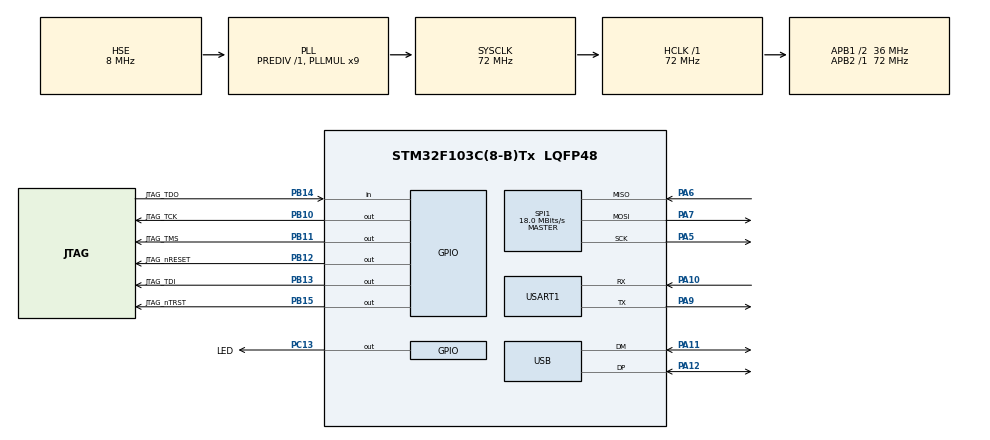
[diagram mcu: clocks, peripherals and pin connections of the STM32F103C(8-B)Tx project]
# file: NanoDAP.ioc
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Mcu.Family=STM32F1
Mcu.Name=STM32F103C(8-B)Tx
Mcu.Package=LQFP48
NVIC.PriorityGroup=NVIC_PRIORITYGROUP_4
NVIC.USB_LP_CAN1_RX0_IRQn=true\:0\:0\:false\:false\:true\:false\:true
PA10.Mode=Asynchronous
PA10.Signal=USART1_RX
PA11.Mode=Device
PA11.Signal=USB_DM
PA12.Mode=Device
PA12.Signal=USB_DP
PA5.Mode=Full_Duplex_Master
PA5.Signal=SPI1_SCK
PA6.Mode=Full_Duplex_Master
PA6.Signal=SPI1_MISO
PA7.Mode=Full_Duplex_Master
PA7.Signal=SPI1_MOSI
PA9.Mode=Asynchronous
PA9.Signal=USART1_TX
PB10.GPIO_Label=JTAG_TCK
PB10.Signal=GPIO_Output
PB11.GPIO_Label=JTAG_TMS
PB11.Signal=GPIO_Output
PB12.GPIO_Label=JTAG_nRESET
PB12.GPIO_ModeDefaultOutputPP=GPIO_MODE_OUTPUT_OD
PB12.GPIO_PuPd=GPIO_PULLUP
PB12.Signal=GPIO_Output
PB13.GPIO_Label=JTAG_TDI
PB13.Signal=GPIO_Output
PB14.GPIO_Label=JTAG_TDO
PB14.Signal=GPIO_Input
PB15.GPIO_Label=JTAG_nTRST
PB15.GPIO_ModeDefaultOutputPP=GPIO_MODE_OUTPUT_OD
PB15.GPIO_PuPd=GPIO_PULLUP
PB15.Signal=GPIO_Output
PC13-TAMPER-RTC.GPIO_Label=LED
PC13-TAMPER-RTC.Signal=GPIO_Output
PD0-OSC_IN.Mode=HSE-External-Oscillator
PD0-OSC_IN.Signal=RCC_OSC_IN
PD1-OSC_OUT.Mode=HSE-External-Oscillator
PD1-OSC_OUT.Signal=RCC_OSC_OUT
ProjectManager.HeapSize=0x200
ProjectManager.StackSize=0x400
ProjectManager.TargetToolchain=MDK-ARM V5.27
RCC.AHBFreq_Value=72000000
RCC.APB1CLKDivider=RCC_HCLK_DIV2
RCC.APB1Freq_Value=36000000
RCC.APB1TimFreq_Value=72000000
RCC.APB2Freq_Value=72000000
RCC.APB2TimFreq_Value=72000000
RCC.HCLKFreq_Value=72000000
RCC.PLLMUL=RCC_PLL_MUL9
RCC.SYSCLKFreq_VALUE=72000000
RCC.SYSCLKSource=RCC_SYSCLKSOURCE_PLLCLK
RCC.USBFreq_Value=48000000
RCC.USBPrescaler=RCC_USBCLKSOURCE_PLL_DIV1_5
SPI1.BaudRatePrescaler=SPI_BAUDRATEPRESCALER_4
SPI1.CalculateBaudRate=18.0 MBits/s
SPI1.Direction=SPI_DIRECTION_2LINES
SPI1.Mode=SPI_MODE_MASTER
SPI1.VirtualType=VM_MASTER
USART1.VirtualMode=VM_ASYNC
USB_DEVICE.CLASS_NAME_FS=CUSTOM_HID
USB_DEVICE.USBD_CUSTOMHID_OUTREPORT_BUF_SIZE=64
USB_DEVICE.VirtualMode=CustomHid
USB_DEVICE.VirtualModeFS=Custom_Hid_FS
VP_SYS_VS_ND.Mode=No_Debug
VP_USB_DEVICE_VS_USB_DEVICE_CUSTOM_HID_FS.Mode=CUSTOM_HID_FS
board=custom

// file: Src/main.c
/* USER CODE BEGIN Header */
/**
  ******************************************************************************
  * @file           : main.c
  * @brief          : Main program body
  ******************************************************************************
  * @attention
  *
  * <h2><center>&copy; Copyright (c) 2020 STMicroelectronics.
  * All rights reserved.</center></h2>
  *
  * This software component is licensed by ST under Ultimate Liberty license
  * SLA0044, the "License"; You may not use this file except in compliance with
  * the License. You may obtain a copy of the License at:
  *                             www.st.com/SLA0044
  *
  ******************************************************************************
  */
/* USER CODE END Header */

#include "main.h"
#include "usb_device.h"

/* USER CODE BEGIN Includes */
#include "device.h"
#include "cmsis_os2.h"
#include "osObjects.h"
#include "rl_usb.h"
#include "DAP_config.h"
#include "DAP.h"
/* USER CODE END Includes */

/* USER CODE BEGIN PTD */
__NO_RETURN void app_main (void *argument) {
  (void)argument;

  DAP_Setup();                          // DAP Setup

  USBD_Initialize(0U);                  // USB Device Initialization
  USBD_Connect(0U);                     // USB Device Connect

  while (!USBD_Configured(0U));         // Wait for USB Device to configure

  LED_CONNECTED_OUT(1U);                // Turn on  Debugger Connected LED
  LED_RUNNING_OUT(1U);                  // Turn on  Target Running LED
  HAL_Delay(500);                        // Wait for 500ms
  LED_RUNNING_OUT(0U);                  // Turn off Target Running LED
  LED_CONNECTED_OUT(0U);                // Turn off Debugger Connected LED

  // Create DAP Thread
  DAP_ThreadId = osThreadNew(DAP_Thread, NULL, NULL);

  osDelay(osWaitForever);
  for (;;) {};
}

/* USER CODE END PTD */

SPI_HandleTypeDef hspi1;

UART_HandleTypeDef huart1;

void SystemClock_Config(void);
static void MX_GPIO_Init(void);
static void MX_SPI1_Init(void);
static void MX_USART1_UART_Init(void);

int main(void)
{

  /* MCU Configuration--------------------------------------------------------*/

  /* Reset of all peripherals, Initializes the Flash interface and the Systick. */
  HAL_Init();

  /* Configure the system clock */
  SystemClock_Config();

  /* Initialize all configured peripherals */
  MX_GPIO_Init();
  MX_SPI1_Init();
  MX_USART1_UART_Init();
  MX_USB_DEVICE_Init();
  /* USER CODE BEGIN 2 */
	DEVICE_Init();
  /* USER CODE END 2 */

  /* Infinite loop */
  while (1)
  {

  }
}

void SystemClock_Config(void)
{
  RCC_OscInitTypeDef RCC_OscInitStruct = {0};
  RCC_ClkInitTypeDef RCC_ClkInitStruct = {0};
  RCC_PeriphCLKInitTypeDef PeriphClkInit = {0};

  /** Initializes the CPU, AHB and APB busses clocks
  */
  RCC_OscInitStruct.OscillatorType = RCC_OSCILLATORTYPE_HSE;
  RCC_OscInitStruct.HSEState = RCC_HSE_ON;
  RCC_OscInitStruct.HSEPredivValue = RCC_HSE_PREDIV_DIV1;
  RCC_OscInitStruct.HSIState = RCC_HSI_ON;
  RCC_OscInitStruct.PLL.PLLState = RCC_PLL_ON;
  RCC_OscInitStruct.PLL.PLLSource = RCC_PLLSOURCE_HSE;
  RCC_OscInitStruct.PLL.PLLMUL = RCC_PLL_MUL9;
  if (HAL_RCC_OscConfig(&RCC_OscInitStruct) != HAL_OK)
  {
    Error_Handler();
  }
  /** Initializes the CPU, AHB and APB busses clocks
  */
  RCC_ClkInitStruct.ClockType = RCC_CLOCKTYPE_HCLK|RCC_CLOCKTYPE_SYSCLK
                              |RCC_CLOCKTYPE_PCLK1|RCC_CLOCKTYPE_PCLK2;
  RCC_ClkInitStruct.SYSCLKSource = RCC_SYSCLKSOURCE_PLLCLK;
  RCC_ClkInitStruct.AHBCLKDivider = RCC_SYSCLK_DIV1;
  RCC_ClkInitStruct.APB1CLKDivider = RCC_HCLK_DIV2;
  RCC_ClkInitStruct.APB2CLKDivider = RCC_HCLK_DIV1;

  if (HAL_RCC_ClockConfig(&RCC_ClkInitStruct, FLASH_LATENCY_2) != HAL_OK)
  {
    Error_Handler();
  }
  PeriphClkInit.PeriphClockSelection = RCC_PERIPHCLK_USB;
  PeriphClkInit.UsbClockSelection = RCC_USBCLKSOURCE_PLL_DIV1_5;
  if (HAL_RCCEx_PeriphCLKConfig(&PeriphClkInit) != HAL_OK)
  {
    Error_Handler();
  }
}

static void MX_SPI1_Init(void)
{

  /* SPI1 parameter configuration*/
  hspi1.Instance = SPI1;
  hspi1.Init.Mode = SPI_MODE_MASTER;
  hspi1.Init.Direction = SPI_DIRECTION_2LINES;
  hspi1.Init.DataSize = SPI_DATASIZE_8BIT;
  hspi1.Init.CLKPolarity = SPI_POLARITY_LOW;
  hspi1.Init.CLKPhase = SPI_PHASE_1EDGE;
  hspi1.Init.NSS = SPI_NSS_SOFT;
  hspi1.Init.BaudRatePrescaler = SPI_BAUDRATEPRESCALER_4;
  hspi1.Init.FirstBit = SPI_FIRSTBIT_MSB;
  hspi1.Init.TIMode = SPI_TIMODE_DISABLE;
  hspi1.Init.CRCCalculation = SPI_CRCCALCULATION_DISABLE;
  hspi1.Init.CRCPolynomial = 10;
  if (HAL_SPI_Init(&hspi1) != HAL_OK)
  {
    Error_Handler();
  }

}

static void MX_USART1_UART_Init(void)
{

  huart1.Instance = USART1;
  huart1.Init.BaudRate = 115200;
  huart1.Init.WordLength = UART_WORDLENGTH_8B;
  huart1.Init.StopBits = UART_STOPBITS_1;
  huart1.Init.Parity = UART_PARITY_NONE;
  huart1.Init.Mode = UART_MODE_TX_RX;
  huart1.Init.HwFlowCtl = UART_HWCONTROL_NONE;
  huart1.Init.OverSampling = UART_OVERSAMPLING_16;
  if (HAL_UART_Init(&huart1) != HAL_OK)
  {
    Error_Handler();
  }

}

static void MX_GPIO_Init(void)
{
  GPIO_InitTypeDef GPIO_InitStruct = {0};

  /* GPIO Ports Clock Enable */
  __HAL_RCC_GPIOC_CLK_ENABLE();
  __HAL_RCC_GPIOD_CLK_ENABLE();
  __HAL_RCC_GPIOA_CLK_ENABLE();
  __HAL_RCC_GPIOB_CLK_ENABLE();

  /*Configure GPIO pin Output Level */
  HAL_GPIO_WritePin(LED_GPIO_Port, LED_Pin, GPIO_PIN_RESET);

  /*Configure GPIO pin Output Level */
  HAL_GPIO_WritePin(GPIOB, JTAG_TCK_Pin|JTAG_TMS_Pin|JTAG_nRESET_Pin|JTAG_TDI_Pin
                          |JTAG_nTRST_Pin, GPIO_PIN_RESET);

  /*Configure GPIO pin : LED_Pin */
  GPIO_InitStruct.Pin = LED_Pin;
  GPIO_InitStruct.Mode = GPIO_MODE_OUTPUT_PP;
  GPIO_InitStruct.Pull = GPIO_NOPULL;
  GPIO_InitStruct.Speed = GPIO_SPEED_FREQ_LOW;
  HAL_GPIO_Init(LED_GPIO_Port, &GPIO_InitStruct);

  /*Configure GPIO pins : JTAG_TCK_Pin JTAG_TMS_Pin JTAG_TDI_Pin */
  GPIO_InitStruct.Pin = JTAG_TCK_Pin|JTAG_TMS_Pin|JTAG_TDI_Pin;
  GPIO_InitStruct.Mode = GPIO_MODE_OUTPUT_PP;
  GPIO_InitStruct.Pull = GPIO_NOPULL;
  GPIO_InitStruct.Speed = GPIO_SPEED_FREQ_LOW;
  HAL_GPIO_Init(GPIOB, &GPIO_InitStruct);

  /*Configure GPIO pins : JTAG_nRESET_Pin JTAG_nTRST_Pin */
  GPIO_InitStruct.Pin = JTAG_nRESET_Pin|JTAG_nTRST_Pin;
  GPIO_InitStruct.Mode = GPIO_MODE_OUTPUT_OD;
  GPIO_InitStruct.Pull = GPIO_PULLUP;
  GPIO_InitStruct.Speed = GPIO_SPEED_FREQ_LOW;
  HAL_GPIO_Init(GPIOB, &GPIO_InitStruct);

  /*Configure GPIO pin : JTAG_TDO_Pin */
  GPIO_InitStruct.Pin = JTAG_TDO_Pin;
  GPIO_InitStruct.Mode = GPIO_MODE_INPUT;
  GPIO_InitStruct.Pull = GPIO_NOPULL;
  HAL_GPIO_Init(JTAG_TDO_GPIO_Port, &GPIO_InitStruct);

}

void Error_Handler(void)
{
}

/************************ (C) COPYRIGHT STMicroelectronics *****END OF FILE****/
